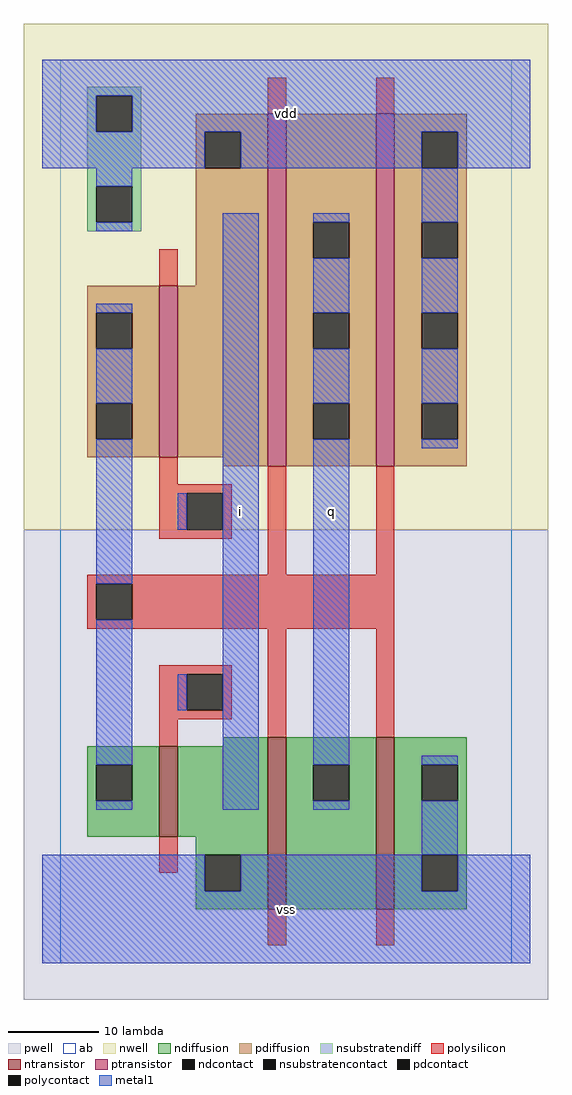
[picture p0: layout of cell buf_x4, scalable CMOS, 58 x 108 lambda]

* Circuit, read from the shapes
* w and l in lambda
.subckt buf_x4 i q vdd vss
M1 vss i n1 VSUBS nfet w=10 l=2
M2 q n1 vss VSUBS nfet w=19 l=2 m=2
M3 vdd i n1 vdd pfet w=19 l=2
M4 q n1 vdd vdd pfet w=39 l=2 m=2
.ends

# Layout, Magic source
magic
tech scmos
<< ab >>
rect 0 0 50 100
<< pwell >>
rect -4 -4 54 48
<< nwell >>
rect -4 48 54 104
<< polysilicon >>
rect 23 94 25 98
rect 35 94 37 98
rect 11 75 13 79
rect 11 53 13 56
rect 11 52 19 53
rect 11 48 14 52
rect 18 48 19 52
rect 11 47 19 48
rect 23 43 25 55
rect 35 43 37 55
rect 3 42 37 43
rect 3 38 4 42
rect 8 38 37 42
rect 3 37 37 38
rect 11 32 19 33
rect 11 28 14 32
rect 18 28 19 32
rect 11 27 19 28
rect 11 24 13 27
rect 23 25 25 37
rect 35 25 37 37
rect 11 10 13 14
rect 23 2 25 6
rect 35 2 37 6
<< ndiffusion >>
rect 18 24 23 25
rect 3 22 11 24
rect 3 18 4 22
rect 8 18 11 22
rect 3 14 11 18
rect 13 14 23 24
rect 15 12 23 14
rect 15 8 16 12
rect 20 8 23 12
rect 15 6 23 8
rect 25 22 35 25
rect 25 18 28 22
rect 32 18 35 22
rect 25 6 35 18
rect 37 22 45 25
rect 37 18 40 22
rect 44 18 45 22
rect 37 12 45 18
rect 37 8 40 12
rect 44 8 45 12
rect 37 6 45 8
<< pdiffusion >>
rect 15 92 23 94
rect 15 88 16 92
rect 20 88 23 92
rect 15 75 23 88
rect 3 72 11 75
rect 3 68 4 72
rect 8 68 11 72
rect 3 62 11 68
rect 3 58 4 62
rect 8 58 11 62
rect 3 56 11 58
rect 13 56 23 75
rect 18 55 23 56
rect 25 82 35 94
rect 25 78 28 82
rect 32 78 35 82
rect 25 72 35 78
rect 25 68 28 72
rect 32 68 35 72
rect 25 62 35 68
rect 25 58 28 62
rect 32 58 35 62
rect 25 55 35 58
rect 37 92 45 94
rect 37 88 40 92
rect 44 88 45 92
rect 37 82 45 88
rect 37 78 40 82
rect 44 78 45 82
rect 37 72 45 78
rect 37 68 40 72
rect 44 68 45 72
rect 37 62 45 68
rect 37 58 40 62
rect 44 58 45 62
rect 37 55 45 58
<< metal1 >>
rect -2 96 52 100
rect -2 92 4 96
rect 8 92 52 96
rect -2 88 16 92
rect 20 88 40 92
rect 44 88 52 92
rect 4 86 8 88
rect 4 81 8 82
rect 4 72 8 73
rect 4 62 8 68
rect 4 42 8 58
rect 13 48 14 52
rect 4 22 8 38
rect 13 28 14 32
rect 4 17 8 18
rect 18 17 22 83
rect 28 82 32 83
rect 28 72 32 78
rect 28 62 32 68
rect 28 22 32 58
rect 40 82 44 88
rect 40 72 44 78
rect 40 62 44 68
rect 40 57 44 58
rect 28 17 32 18
rect 40 22 44 23
rect 40 12 44 18
rect -2 8 16 12
rect 20 8 40 12
rect 44 8 52 12
rect -2 0 52 8
<< ntransistor >>
rect 11 14 13 24
rect 23 6 25 25
rect 35 6 37 25
<< ptransistor >>
rect 11 56 13 75
rect 23 55 25 94
rect 35 55 37 94
<< polycontact >>
rect 14 48 18 52
rect 4 38 8 42
rect 14 28 18 32
<< ndcontact >>
rect 4 18 8 22
rect 16 8 20 12
rect 28 18 32 22
rect 40 18 44 22
rect 40 8 44 12
<< pdcontact >>
rect 16 88 20 92
rect 4 68 8 72
rect 4 58 8 62
rect 28 78 32 82
rect 28 68 32 72
rect 28 58 32 62
rect 40 88 44 92
rect 40 78 44 82
rect 40 68 44 72
rect 40 58 44 62
<< nsubstratencontact >>
rect 4 92 8 96
rect 4 82 8 86
<< nsubstratendiff >>
rect 3 96 9 97
rect 3 92 4 96
rect 8 92 9 96
rect 3 86 9 92
rect 3 82 4 86
rect 8 82 9 86
rect 3 81 9 82
<< labels >>
rlabel metal1 20 50 20 50 6 i
rlabel metal1 25 6 25 6 6 vss
rlabel metal1 30 50 30 50 6 q
rlabel metal1 25 94 25 94 6 vdd
<< end >>
